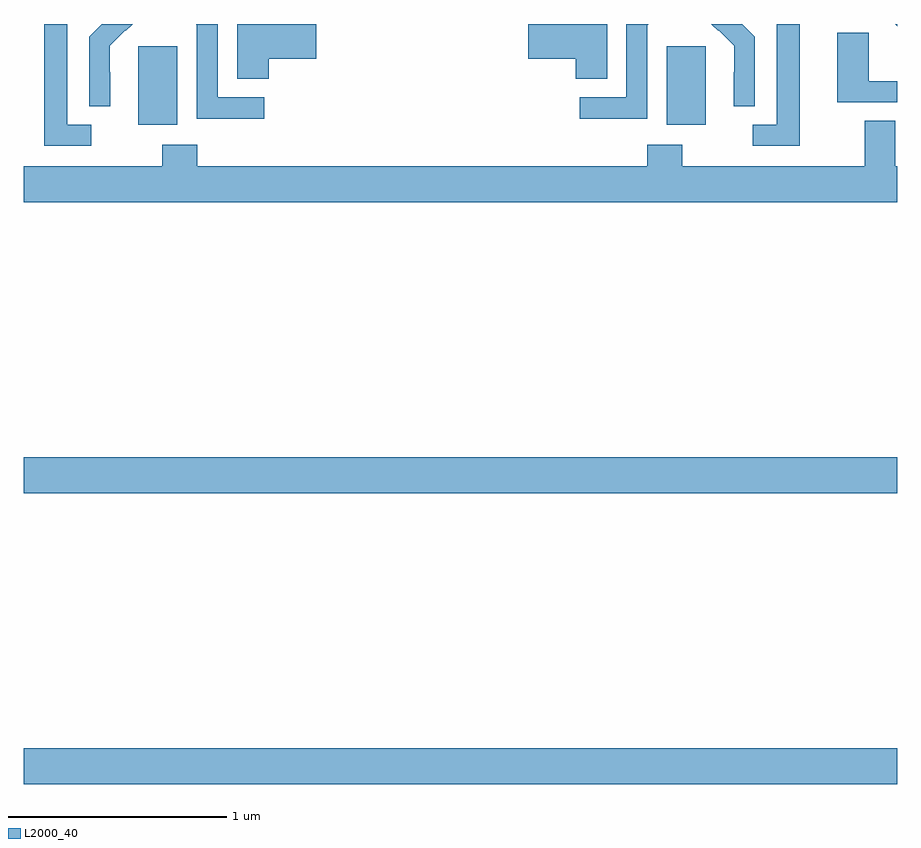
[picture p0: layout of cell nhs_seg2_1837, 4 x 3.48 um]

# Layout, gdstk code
import gdstk
lib = gdstk.Library(unit=1e-6, precision=1e-09)
def R(c, l, rs):  # rectangles x0, y0, x1, y1
    for r in rs: c.add(gdstk.rectangle(r[:2], r[2:], *l))
def P(c, l, *ps):  # polygons
    for p in ps: c.add(gdstk.Polygon(p, *l))
L2000_40 = (2000, 40)

nhs_seg2_1837 = lib.new_cell('nhs_seg2_1837')
R(nhs_seg2_1837, L2000_40, [(207,630.32,211,630.484), (207,631.652,211,631.816), (207.524,633.338,207.703,633.699), (209.945,633.338,210.124,633.699)])
P(nhs_seg2_1837, L2000_40, [(208.102,633.465),(207.888,633.465),(207.888,633.8),(207.79,633.8),(207.79,633.796),(207.792,633.796),(207.792,633.367),(208.102,633.367)],
  [(209.671,633.8),(209.31,633.8),(209.31,633.641),(209.528,633.641),(209.528,633.55),(209.671,633.55)],
  [(211,633.8),(210.99,633.8),(211,633.79)],
  [(210.553,633.8),(210.449,633.8),(210.449,633.339),(210.339,633.339),(210.339,633.243),(210.553,633.243)],
  [(210.348,633.742),(210.29,633.8),(210.148,633.8),(210.18,633.768),(210.183,633.771),(210.254,633.701),(210.254,633.578),(210.252,633.578),(210.252,633.424),(210.348,633.424)],
  [(209.856,633.796),(209.859,633.796),(209.859,633.8),(209.76,633.8),(209.76,633.465),(209.547,633.465),(209.547,633.367),(209.856,633.367)],
  [(207.31,633.339),(207.199,633.339),(207.199,633.8),(207.095,633.8),(207.095,633.243),(207.31,633.243)],
  [(207.396,633.578),(207.395,633.578),(207.395,633.701),(207.465,633.771),(207.468,633.768),(207.5,633.8),(207.358,633.8),(207.3,633.742),(207.3,633.424),(207.396,633.424)],
  [(208.121,633.641),(208.339,633.641),(208.339,633.8),(207.977,633.8),(207.977,633.55),(208.121,633.55)],
  [(211,633.537),(210.87,633.537),(210.87,633.761),(210.725,633.761),(210.725,633.441),(211,633.441)],
  [(211,633.148),(210.991,633.148),(210.991,633.356),(210.851,633.356),(210.851,633.148),(210.015,633.148),(210.015,633.247),(209.855,633.247),(209.855,633.148),(207.794,633.148),(207.794,633.247),(207.634,633.247),(207.634,633.148),(207,633.148),(207,632.984),(211,632.984)])

lib.write_gds('nhs_seg2_1837.gds')
